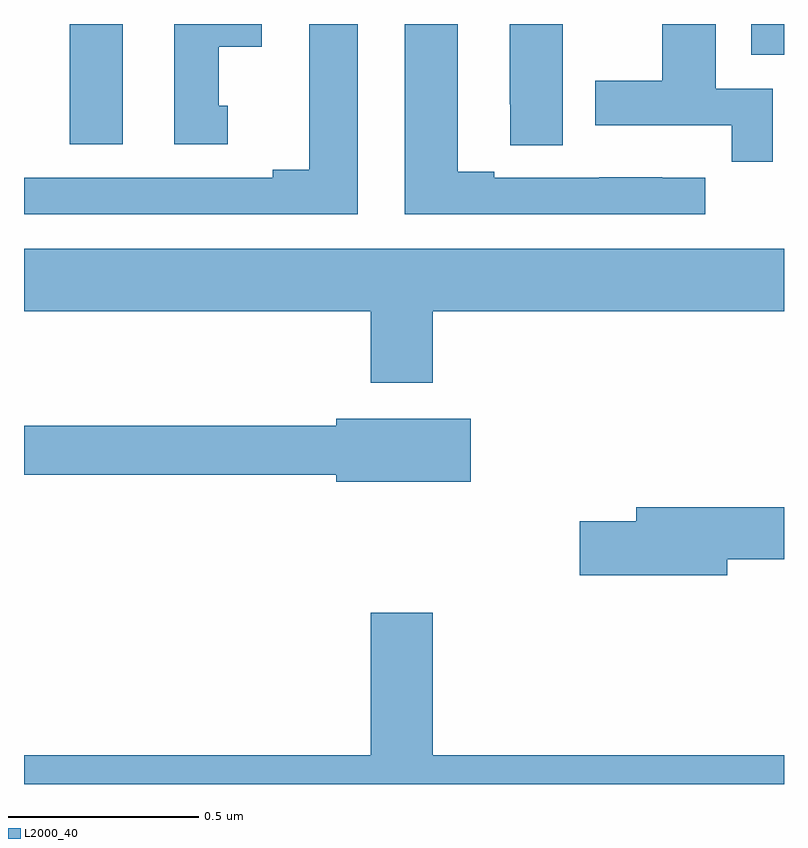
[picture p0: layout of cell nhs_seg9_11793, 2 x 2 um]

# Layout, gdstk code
import gdstk
lib = gdstk.Library(unit=1e-6, precision=1e-09)
def R(c, l, rs):  # rectangles x0, y0, x1, y1
    for r in rs: c.add(gdstk.rectangle(r[:2], r[2:], *l))
def P(c, l, *ps):  # polygons
    for p in ps: c.add(gdstk.Polygon(p, *l))
L2000_40 = (2000, 40)

nhs_seg9_11793 = lib.new_cell('nhs_seg9_11793')
R(nhs_seg9_11793, L2000_40, [(260.12,1206.183,260.26,1206.5), (261.914,1206.419,262,1206.5)])
P(nhs_seg9_11793, L2000_40, [(261.793,1206.096),(261.68,1206.096),(261.68,1206.097),(261.514,1206.097),(261.514,1206.096),(261.238,1206.096),(261.238,1206.111),(261.142,1206.111),(261.142,1206.5),(261.002,1206.5),(261.002,1206),(261.793,1206)],
  [(261.418,1206.5),(261.278,1206.5),(261.278,1206.289),(261.279,1206.289),(261.279,1206.181),(261.418,1206.181)],
  [(261.971,1206.33),(261.82,1206.33),(261.82,1206.5),(261.68,1206.5),(261.68,1206.351),(261.503,1206.351),(261.503,1206.234),(261.862,1206.234),(261.862,1206.138),(261.971,1206.138)],
  [(260.878,1206.5),(260.75,1206.5),(260.75,1206.116),(260.654,1206.116),(260.654,1206.096),(260,1206.096),(260,1206),(260.878,1206)],
  [(260.536,1206.285),(260.512,1206.285),(260.512,1206.44),(260.626,1206.44),(260.626,1206.5),(260.396,1206.5),(260.396,1206.183),(260.536,1206.183)],
  [(261.076,1205.744),(262,1205.744),(262,1205.908),(260,1205.908),(260,1205.744),(260.912,1205.744),(260.912,1205.556),(261.076,1205.556)],
  [(261.175,1205.461),(260.822,1205.461),(260.822,1205.443),(260,1205.443),(260,1205.314),(260.822,1205.314),(260.822,1205.296),(261.175,1205.296)],
  [(261.85,1205.092),(262,1205.092),(262,1205.228),(261.611,1205.228),(261.611,1205.192),(261.462,1205.192),(261.462,1205.05),(261.85,1205.05)],
  [(262,1204.576),(261.076,1204.576),(261.076,1204.951),(260.912,1204.951),(260.912,1204.576),(260,1204.576),(260,1204.5),(262,1204.5)])

lib.write_gds('nhs_seg9_11793.gds')
